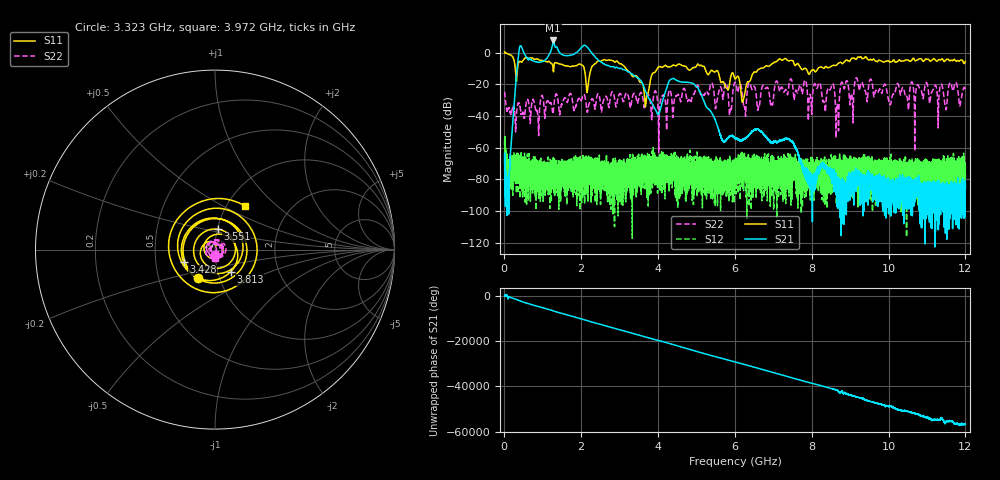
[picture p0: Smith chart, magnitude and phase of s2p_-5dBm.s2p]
!Keysight Technologies,N5242B,US61255121,A.15.50.07
!Date: Friday, October 24, 2025 17:00:59
!Correction: S11(Off)
!S21(Off)
!S12(Off)
!S22(Off)
!S2P File: Measurements: S11, S21, S12, S22:
# Hz S  dB  R 50
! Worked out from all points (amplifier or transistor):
!   11991 points, 10 MHz to 12 GHz, reference 50 ohm
!   highest |S21| = 7.7 dB at 1.276 GHz (marker M1)
!   |S21| within 3 dB of that: 1.256 GHz to 1.307 GHz (51.13 MHz wide, 3.99 % of centre)
!   unconditionally stable (mu >= 1): 15.51 MHz to end of sweep
!   at 2.008 GHz: K = 1084.56, MAG = 4.0 dB, |S12| = -71.5 dB
!   at 6.005 GHz: K = 4499700.70, MAG = -54.2 dB, |S12| = -85.1 dB
!   at 12 GHz: K = 47735275.81, MAG = -80.4 dB, |S12| = -79.2 dB
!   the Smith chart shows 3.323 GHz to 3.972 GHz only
!   S11 on the Smith chart (normalised r, x): 3.323 GHz: 0.79, -0.26; 3.428 GHz: 0.70, -0.10; 3.551 GHz: 1.00, +0.23; 3.813 GHz: 1.15, -0.29; 3.972 GHz: 1.22, +0.64
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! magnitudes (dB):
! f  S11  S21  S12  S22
! 10 MHz  0.5  -69.7  -55.2  -24.8
! 122 MHz  -1.2  -83.3  -71.2  -35.1
! 417 MHz  -5.6  4.3  -71.1  -35.0
! 1.276 GHz  -11.5  7.7  -74.2  -37.8
! 2.009 GHz  -7.7  3.2  -73.6  -30.0
! 2.164 GHz  -24.2  3.4  -71.0  -37.4
! 3.323 GHz  -14.6  -13.5  -73.3  -29.7
! 3.428 GHz  -14.5  -15.2  -69.4  -28.0
! 3.551 GHz  -18.8  -17.6  -78.4  -25.3
! 3.813 GHz  -16.4  -30.7  -66.9  -33.8
! 3.972 GHz  -10.6  -38.0  -73.5  -27.1
! 4.007 GHz  -9.2  -38.9  -69.6  -38.0
! 4.334 GHz  -8.8  -16.9  -74.5  -25.0
! 4.871 GHz  -10.3  -19.2  -72.7  -29.7
! 5.77 GHz  -22.2  -55.3  -70.3  -19.3
! 5.887 GHz  -16.1  -52.9  -81.4  -35.5
! 6.005 GHz  -16.6  -54.3  -85.1  -18.8
! 6.218 GHz  -30.0  -55.0  -69.1  -31.4
! 7.418 GHz  -5.2  -54.9  -72.4  -19.0
! 8.004 GHz  -11.2  -81.9  -65.4  -37.7
! 10 GHz  -5.3  -101.8  -73.6  -30.1
! 12 GHz  -5.5  -83.4  -79.2  -23.3
